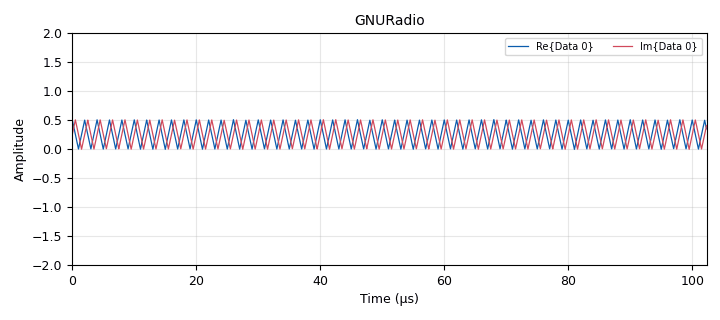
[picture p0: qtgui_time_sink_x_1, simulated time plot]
<?xml version='1.0' encoding='utf-8'?>
<?grc format='1' created='3.7.10'?>
<flow_graph>
<block>
<key>options</key>
<param><key>id</key><value>top_block</value></param>
<param><key>category</key><value>Custom</value></param>
<param><key>generate_options</key><value>qt_gui</value></param>
</block>
<block>
<key>variable_qtgui_entry</key>
<param><key>id</key><value>avg_length</value></param>
<param><key>value</key><value>10</value></param>
<param><key>label</key><value>Length</value></param>
<param><key>type</key><value>int</value></param>
</block>
<block>
<key>variable</key>
<param><key>id</key><value>samp_rate</value></param>
<param><key>value</key><value>10e6</value></param>
</block>
<block>
<key>variable_uhd_device3</key>
<param><key>id</key><value>variable_uhd_device3_0</value></param>
<param><key>dev_addr</key><value>type=x300</value></param>
<param><key>dev_args</key><value>""</value></param>
</block>
<block>
<key>analog_sig_source_x</key>
<param><key>id</key><value>analog_sig_source_x_0</value></param>
<param><key>amp</key><value>0.5</value></param>
<param><key>freq</key><value>500e3</value></param>
<param><key>offset</key><value>0</value></param>
<param><key>type</key><value>complex</value></param>
<param><key>samp_rate</key><value>samp_rate</value></param>
<param><key>waveform</key><value>analog.GR_SQR_WAVE</value></param>
</block>
<block>
<key>blocks_moving_average_xx</key>
<param><key>id</key><value>blocks_moving_average_xx_0</value></param>
<param><key>length</key><value>avg_length</value></param>
<param><key>max_iter</key><value>4000</value></param>
<param><key>scale</key><value>1.0/avg_length</value></param>
<param><key>type</key><value>complex</value></param>
</block>
<block>
<key>blocks_throttle</key>
<param><key>id</key><value>blocks_throttle_0</value></param>
<param><key>samples_per_second</key><value>samp_rate</value></param>
<param><key>type</key><value>complex</value></param>
</block>
<block>
<key>blocks_vector_source_x</key>
<param><key>id</key><value>blocks_vector_source_x_0</value></param>
<param><key>_enabled</key><value>0</value></param>
<param><key>type</key><value>complex</value></param>
<param><key>repeat</key><value>True</value></param>
<param><key>vector</key><value>(0.5, ) + (0, ) * (avg_length-1)</value></param>
</block>
<block>
<key>channels_channel_model</key>
<param><key>id</key><value>channels_channel_model_0</value></param>
<param><key>epsilon</key><value>1.0</value></param>
<param><key>freq_offset</key><value>0.0</value></param>
<param><key>noise_voltage</key><value>0.01</value></param>
<param><key>seed</key><value>0</value></param>
<param><key>taps</key><value>1</value></param>
</block>
<block>
<key>qtgui_edit_box_msg</key>
<param><key>id</key><value>qtgui_edit_box_msg_0</value></param>
<param><key>key</key><value>length</value></param>
<param><key>label</key><value>Avg. Length</value></param>
<param><key>type</key><value>int</value></param>
<param><key>value</key><value>avg_length</value></param>
</block>
<block>
<key>qtgui_time_sink_x</key>
<param><key>id</key><value>qtgui_time_sink_x_0</value></param>
<param><key>color1</key><value>"blue"</value></param>
<param><key>label1</key><value></value></param>
<param><key>color2</key><value>"red"</value></param>
<param><key>label2</key><value></value></param>
<param><key>name</key><value>"RFNoC"</value></param>
<param><key>size</key><value>1024</value></param>
<param><key>srate</key><value>samp_rate</value></param>
<param><key>type</key><value>complex</value></param>
<param><key>ymax</key><value>2</value></param>
<param><key>ymin</key><value>-2</value></param>
</block>
<block>
<key>qtgui_time_sink_x</key>
<param><key>id</key><value>qtgui_time_sink_x_1</value></param>
<param><key>color1</key><value>"blue"</value></param>
<param><key>label1</key><value></value></param>
<param><key>color2</key><value>"red"</value></param>
<param><key>label2</key><value></value></param>
<param><key>name</key><value>"GNURadio"</value></param>
<param><key>size</key><value>1024</value></param>
<param><key>srate</key><value>samp_rate</value></param>
<param><key>type</key><value>complex</value></param>
<param><key>ymax</key><value>2</value></param>
<param><key>ymin</key><value>-2</value></param>
</block>
<block>
<key>uhd_rfnoc_streamer_fifo</key>
<param><key>id</key><value>uhd_rfnoc_streamer_fifo_0</value></param>
<param><key>otw</key><value>sc16</value></param>
<param><key>device_index</key><value>-1</value></param>
<param><key>block_index</key><value>-1</value></param>
<param><key>grvlen</key><value>1</value></param>
<param><key>type</key><value>fc32</value></param>
</block>
<block>
<key>uhd_rfnoc_streamer_moving_avg</key>
<param><key>id</key><value>uhd_rfnoc_streamer_moving_avg_0</value></param>
<param><key>length</key><value>avg_length</value></param>
<param><key>block_index</key><value>-1</value></param>
<param><key>device_index</key><value>-1</value></param>
</block>
<connection><source_block_id>analog_sig_source_x_0</source_block_id><sink_block_id>blocks_throttle_0</sink_block_id><source_key>0</source_key><sink_key>0</sink_key></connection>
<connection><source_block_id>blocks_moving_average_xx_0</source_block_id><sink_block_id>qtgui_time_sink_x_1</sink_block_id><source_key>0</source_key><sink_key>0</sink_key></connection>
<connection><source_block_id>blocks_throttle_0</source_block_id><sink_block_id>channels_channel_model_0</sink_block_id><source_key>0</source_key><sink_key>0</sink_key></connection>
<connection><source_block_id>blocks_vector_source_x_0</source_block_id><sink_block_id>blocks_throttle_0</sink_block_id><source_key>0</source_key><sink_key>0</sink_key></connection>
<connection><source_block_id>channels_channel_model_0</source_block_id><sink_block_id>blocks_moving_average_xx_0</sink_block_id><source_key>0</source_key><sink_key>0</sink_key></connection>
<connection><source_block_id>channels_channel_model_0</source_block_id><sink_block_id>uhd_rfnoc_streamer_moving_avg_0</sink_block_id><source_key>0</source_key><sink_key>0</sink_key></connection>
<connection><source_block_id>qtgui_edit_box_msg_0</source_block_id><sink_block_id>uhd_rfnoc_streamer_moving_avg_0</sink_block_id><source_key>msg</source_key><sink_key>rfnoc</sink_key></connection>
<connection><source_block_id>uhd_rfnoc_streamer_fifo_0</source_block_id><sink_block_id>qtgui_time_sink_x_0</sink_block_id><source_key>0</source_key><sink_key>0</sink_key></connection>
<connection><source_block_id>uhd_rfnoc_streamer_moving_avg_0</source_block_id><sink_block_id>uhd_rfnoc_streamer_fifo_0</sink_block_id><source_key>0</source_key><sink_key>0</sink_key></connection>
</flow_graph>
